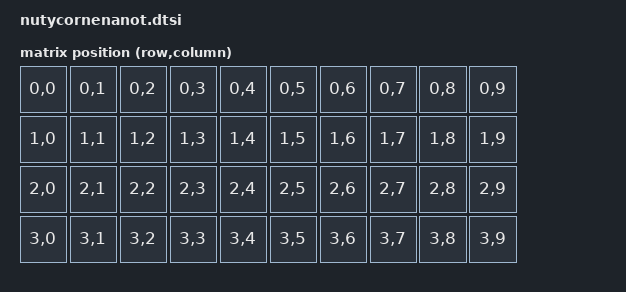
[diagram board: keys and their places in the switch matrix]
#include <dt-bindings/zmk/matrix_transform.h>
#include <dt-bindings/zmk/input_transform.h>
#include "nutycornenanot-layouts.dtsi"
#include <zephyr/dt-bindings/input/input-event-codes.h>

/ {

	default_transform: keymap_transform_0 {
		compatible = "zmk,matrix-transform";
		columns = <10>;
		rows = <4>;
		map = <
                RC(0,0) RC(0,1) RC(0,2) RC(0,3) RC(0,4)  RC(0,5) RC(0,6) RC(0,7) RC(0,8) RC(0,9)
                RC(1,0) RC(1,1) RC(1,2) RC(1,3) RC(1,4)  RC(1,5) RC(1,6) RC(1,7) RC(1,8) RC(1,9)
                RC(2,0) RC(2,1) RC(2,2) RC(2,3) RC(2,4)  RC(2,5) RC(2,6) RC(2,7) RC(2,8) RC(2,9)
                RC(3,0) RC(3,1) RC(3,2) RC(3,3) RC(3,4)  RC(3,5) RC(3,6) RC(3,7) RC(3,8) RC(3,9)
		>;
	};

    kscan0: kscan {
		compatible = "zmk,kscan-gpio-matrix";
	};

    xiao_i2c {
        status = "okay";
        clock-frequency = <I2C_BITRATE_STANDARD>;
        trackpad: glidepoint@2a { 
            compatible = "cirque,pinnacle";
            //status = "okay";
            status = "disabled";
            reg = <0x2a>;
            dr-gpios = <&gpio1 3 (GPIO_ACTIVE_HIGH)>;
            sensitivity = "2x";
            sleep;
            x-invert;
            no-secondary-tap;
            //y-invert;
            //rotate-90;
        };
    };

    split_inputs {
        #address-cells = <1>;
        #size-cells = <0>;
        glidepoint_split: glidepoint_split@0 {
            compatible = "zmk,input-split";
            reg = <0>;
        };
    };
    glidepoint_rh_listener: glidepoint_listener {
        compatible = "zmk,input-listener";
        status = "disabled";
        device = <&glidepoint_split>;
    };
    glidepoint_lh_listener: glidepoint_listener {
        compatible = "zmk,input-listener";
        status = "disabled";
        device = <&trackpad>;
    };
};

&physical_layout0 {
    kscan = <&kscan0>;
    transform = <&default_transform>;
};

&usbd {
	status = "okay";
};

